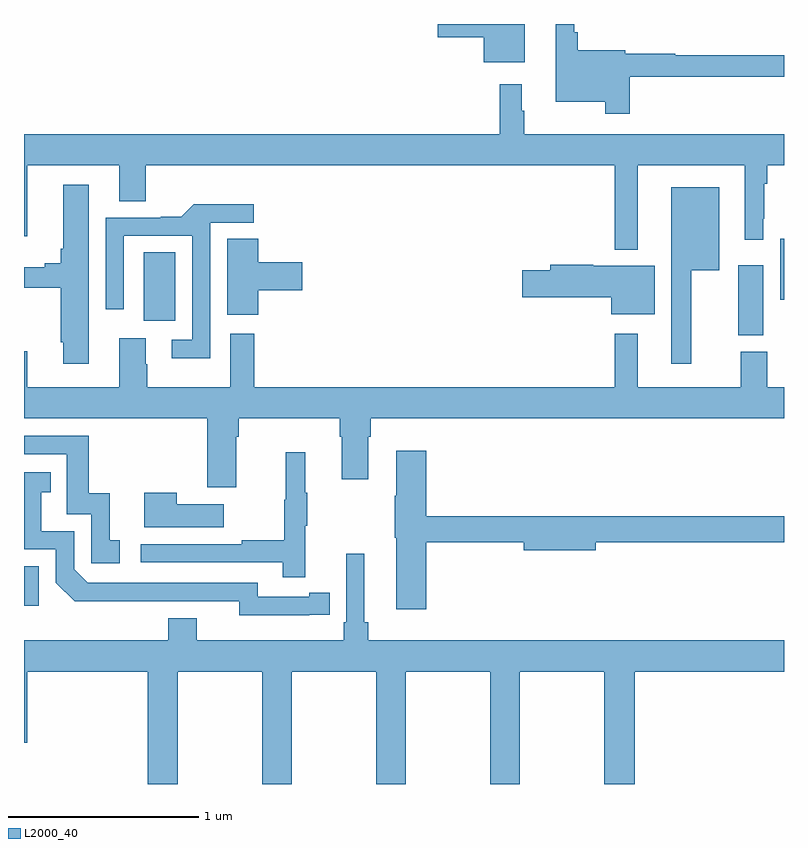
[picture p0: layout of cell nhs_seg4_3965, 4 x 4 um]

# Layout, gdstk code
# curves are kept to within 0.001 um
import gdstk
lib = gdstk.Library(unit=1e-6, precision=1e-09)
def R(c, l, rs):  # rectangles x0, y0, x1, y1
    for r in rs: c.add(gdstk.rectangle(r[:2], r[2:], *l))
def P(c, l, *ps):  # polygons
    for p in ps: c.add(gdstk.Polygon(p, *l))
L2000_40 = (2000, 40)

nhs_seg4_3965 = lib.new_cell('nhs_seg4_3965')
R(nhs_seg4_3965, L2000_40, [(321,791.838,321.078,792.045), (324.758,793.261,324.892,793.63), (321.629,793.338,321.796,793.7), (324.98,793.448,325,793.771)])
P(nhs_seg4_3965, L2000_40, [(324.188,794.622),(325,794.622),(325,794.735),(324.428,794.735),(324.428,794.743),(324.165,794.743),(324.165,794.761),(323.915,794.761),(323.915,794.857),(323.895,794.857),(323.895,794.9),(323.798,794.9),(323.798,794.492),(324.06,794.492),(324.06,794.427),(324.188,794.427)],
  [(323.635,794.9),(323.178,794.9),(323.178,794.831),(323.42,794.831),(323.42,794.699),(323.635,794.699)],
  [(324.229,794.156),(324.794,794.156),(324.794,793.764),(324.891,793.764),(324.891,793.876),(324.896,793.876),(324.896,794.06),(324.911,794.06),(324.911,794.156),(325,794.156),(325,794.32),(323.632,794.32),(323.632,794.444),(323.62,794.444),(323.62,794.584),(323.503,794.584),(323.503,794.32),(321,794.32),(321,793.782),(321.016,793.782),(321.016,794.156),(321.5,794.156),(321.5,793.966),(321.64,793.966),(321.64,794.156),(324.108,794.156),(324.108,793.819),(324.109,793.819),(324.109,793.712),(324.229,793.712)],
  [(321.34,794.053),(321.206,794.053),(321.206,793.717),(321.194,793.717),(321.194,793.64),(321.11,793.64),(321.11,793.621),(321,793.621),(321,793.512),(321.194,793.512),(321.194,793.225),(321.206,793.225),(321.206,793.113),(321.34,793.113)],
  [(324.511,793.604),(324.658,793.604),(324.658,794.041),(324.407,794.041),(324.407,793.113),(324.511,793.113)],
  [(321.981,793.854),(322.21,793.854),(322.21,793.952),(321.893,793.952),(321.827,793.886),(321.719,793.886),(321.719,793.881),(321.429,793.881),(321.429,793.398),(321.525,793.398),(321.525,793.785),(321.885,793.785),(321.885,793.239),(321.777,793.239),(321.777,793.142),(321.981,793.142)],
  [(322.232,793.499),(322.465,793.499),(322.465,793.646),(322.232,793.646),(322.232,793.769),(322.07,793.769),(322.07,793.371),(322.232,793.371)],
  [(324.319,793.627),(323.996,793.627),(323.996,793.634),(323.771,793.634),(323.771,793.604),(323.622,793.604),(323.622,793.462),(324.092,793.462),(324.092,793.373),(324.319,793.373)],
  [(325,792.988),(324.913,792.988),(324.913,793.176),(324.773,793.176),(324.773,792.988),(324.229,792.988),(324.229,793.27),(324.108,793.27),(324.108,792.988),(322.211,792.988),(322.211,793.27),(322.085,793.27),(322.085,792.988),(321.648,792.988),(321.648,793.109),(321.64,793.109),(321.64,793.246),(321.5,793.246),(321.5,792.988),(321.016,792.988),(321.016,793.177),(321,793.177),(321,792.824),(321.965,792.824),(321.965,792.462),(322.117,792.462),(322.117,792.728),(322.13,792.728),(322.13,792.824),(322.661,792.824),(322.661,792.728),(322.673,792.728),(322.673,792.504),(322.813,792.504),(322.813,792.728),(322.826,792.728),(322.826,792.824),(325,792.824)],
  [(321.505,792.183),(321.452,792.183),(321.452,792.43),(321.341,792.43),(321.341,792.732),(321,792.732),(321,792.636),(321.225,792.636),(321.225,792.321),(321.354,792.321),(321.354,792.063),(321.505,792.063)],
  [(323.117,792.172),(323.63,792.172),(323.63,792.13),(324.01,792.13),(324.01,792.172),(325,792.172),(325,792.308),(323.117,792.308),(323.117,792.655),(322.958,792.655),(322.958,792.416),(322.951,792.416),(322.951,792.195),(322.958,792.195),(322.958,791.82),(323.117,791.82)],
  [(322.481,792.259),(322.492,792.259),(322.492,792.433),(322.481,792.433),(322.481,792.646),(322.378,792.646),(322.378,792.396),(322.371,792.396),(322.371,792.182),(322.147,792.182),(322.147,792.162),(321.615,792.162),(321.615,792.066),(322.363,792.066),(322.363,791.988),(322.481,791.988)],
  [(322.502,791.79),(322.61,791.79),(322.61,791.906),(322.502,791.906),(322.502,791.886),(322.23,791.886),(322.23,791.958),(321.336,791.958),(321.264,792.03),(321.264,792.231),(321.091,792.231),(321.091,792.435),(321.14,792.435),(321.14,792.541),(321,792.541),(321,792.135),(321.168,792.135),(321.168,791.958),(321.266,791.861),(322.134,791.862),(322.134,791.789)],
  [(322.051,792.373),(321.803,792.373),(321.803,792.433),(321.632,792.433),(321.632,792.251),(322.051,792.251)],
  [(321.81,791.492),(322.255,791.492),(322.255,790.9),(322.41,790.9),(322.41,791.492),(322.855,791.492),(322.855,790.9),(323.01,790.9),(323.01,791.492),(323.455,791.492),(323.455,790.9),(323.61,790.9),(323.61,791.492),(324.055,791.492),(324.055,790.9),(324.215,790.9),(324.215,791.492),(325,791.492),(325,791.656),(322.811,791.656),(322.811,791.752),(322.792,791.752),(322.792,792.112),(322.695,792.112),(322.695,791.752),(322.682,791.752),(322.682,791.656),(321.91,791.656),(321.91,791.773),(321.758,791.773),(321.758,791.656),(321,791.656),(321,791.118),(321.016,791.118),(321.016,791.492),(321.65,791.492),(321.65,790.9),(321.81,790.9)])

lib.write_gds('nhs_seg4_3965.gds')
